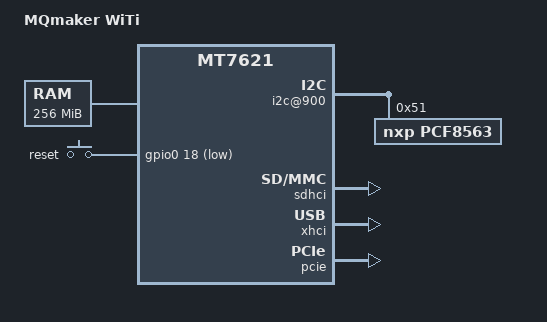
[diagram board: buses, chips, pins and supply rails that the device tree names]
#include "mt7621.dtsi"

/ {
	compatible = "mediatek,mt7621-eval-board", "mediatek,mt7621-soc";
	model = "MQmaker WiTi";

	memory@0 {
		device_type = "memory";
		reg = <0x0 0x10000000>;
	};

	chosen {
		bootargs = "console=ttyS0,57600";
	};

	palmbus: palmbus@1E000000 {
		i2c@900 {
			status = "okay";

			pcf8563: rtc@51 {
				status = "okay";
				compatible = "nxp,pcf8563";
				reg = <0x51>;
			};
		};
	};

	gpio-keys-polled {
		compatible = "gpio-keys-polled";
		#address-cells = <1>;
		#size-cells = <0>;
		poll-interval = <20>;

		reset {
			label = "reset";
			gpios = <&gpio0 18 1>;
			linux,code = <0x198>;
		};
	};
};


&sdhci {
	status = "okay";
};

&xhci {
	status = "okay";
};

&pcie {
	status = "okay";

	pcie0 {
		mt76@0,0 {
			reg = <0x0000 0 0 0 0>;
			device_type = "pci";
			mediatek,mtd-eeprom = <&factory 0x8000>;
			mediatek,2ghz = <0>;
			mtd-mac-address = <&factory 0xe000>;
		};
	};

	pcie1 {
		mt76@1,0 {
			reg = <0x0000 0 0 0 0>;
			device_type = "pci";
			mediatek,mtd-eeprom = <&factory 0x0000>;
			mediatek,5ghz = <0>;
			mtd-mac-address = <&factory 0xe000>;
		};
	};
};

&ethernet {
	mtd-mac-address = <&factory 0xe000>;
};

&pinctrl {
	state_default: pinctrl0 {
		gpio {
			ralink,group = "wdt", "rgmii2", "jtag", "mdio";
			ralink,function = "gpio";
		};
	};
};
